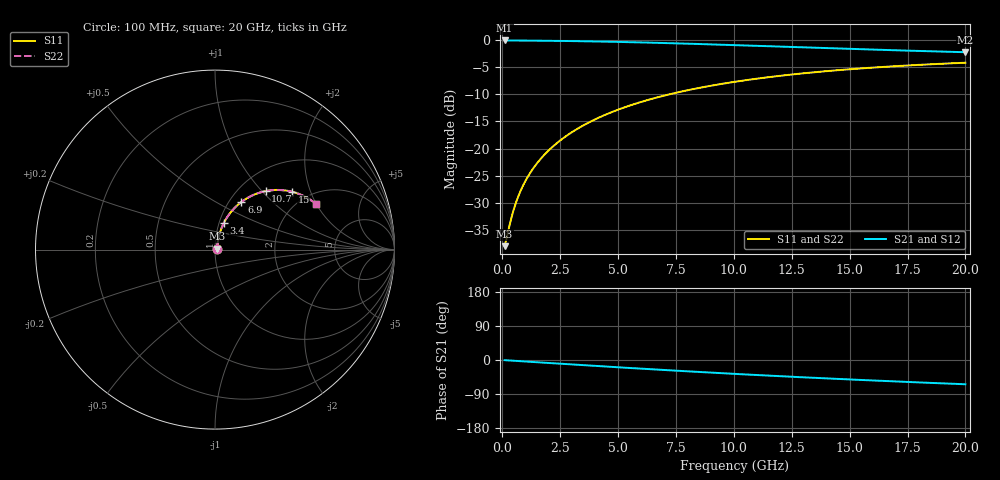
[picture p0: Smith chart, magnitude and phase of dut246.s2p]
! Touchstone file exported from HFSS 2026.1.0
!  File:  C:/ffzhzh/LocalFiles/Ansys_Project_Files/temp_train_BSMRDL_246_1782988518_41620.aedt
!  Generated:  06:36:42 PM Jul  2, 2026
!  Design:  BSMRDL
!  Project:  temp_train_BSMRDL_246_1782988518_41620
! Variables:
!  h_bsmrdl = 2.17um
!  h_ox = 20um
!  h_rdl = 5um
!  h_sub = 80um
!  h_tmrdl = 5um
!  h_tsv = 80um
!  h_via = 3um
!  l_bsmrdl = 967.05um
!  l_sub = 1367.05um
!  l_tmrdl = 200um
!  m_sub = 200um
!  pitch = 45.15um
!  r_tsv = 6um
!  s_tmrdl = 10um
!  w_bsmrdl = 13.48um
!  w_sub = 500um
!  w_tmrdl = 12um
!  x_tsv_center1 = 206um
!  x_tsv_center2 = 1186.53um
!  x_tsv_center3 = 1398.53um
!  x_tsv_center4 = 2379.06um
!  x_tsv_center5 = 2591.06um
!  x_tsv_center6 = 3571.59um
# GHz S MA R 50.000000
! Terminal data exported
! Port[1] = BSM_RDL1_1_T1
! Port[2] = BSM_RDL1_1_T2
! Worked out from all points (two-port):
!   200 points, 100 MHz to 20 GHz, reference 50 ohm
!   highest |S21| = -0.10 dB at 100 MHz (marker M1); lowest = -2.3 dB at 20 GHz (marker M2)
!   |S21| within 3 dB of the highest: start of sweep to end of sweep
!   lowest |S11| = -38.0 dB at 100 MHz (marker M3), VSWR 1.03, Z = 51.2 + j0.507 ohm
!   |S11| at or under -10 dB: start of sweep to 7.237 GHz
!   |S22| runs from -38.0 to -4.2 dB; largest |S21 - S12| = 1e-14
!   S11 on the Smith chart (normalised r, x): 100 MHz: 1.02, +0.01; 3.4 GHz: 1.05, +0.33; 6.9 GHz: 1.14, +0.67; 10.7 GHz: 1.31, +1.05; 15 GHz: 1.66, +1.50; 20 GHz: 2.40, +1.98
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0.1  0.01261 23.1  0.9884 -0.4  0.9884 -0.4  0.01261 23.1
! Gamma 0 0 0 0
! Port Impedance 50 0 50 0
0.4  0.02327 57.4  0.9878 -1.6  0.9878 -1.6  0.02327 57.4
0.6  0.03213 64.9  0.9872 -2.4  0.9872 -2.4  0.03213 64.9
0.7  0.03665 67.1  0.9868 -2.8  0.9868 -2.8  0.03665 67.1
0.9  0.04575 70.0  0.9861 -3.6  0.9861 -3.6  0.04575 70.0
1.2  0.05943 72.3  0.985 -4.8  0.985 -4.8  0.05943 72.3
1.6  0.07768 73.5  0.9834 -6.3  0.9834 -6.3  0.07768 73.5
2.1  0.1004 73.7  0.981 -8.3  0.981 -8.3  0.1004 73.7
2.7  0.1276 73.0  0.9777 -10.6  0.9777 -10.6  0.1276 73.0
3.4  0.1589 71.5  0.9729 -13.2  0.9729 -13.2  0.1589 71.5
3.5  0.1633 71.3  0.9721 -13.6  0.9721 -13.6  0.1633 71.3
4.2  0.1938 69.4  0.9664 -16.2  0.9664 -16.2  0.1938 69.4
5  0.2278 67.0  0.9588 -19.2  0.9588 -19.2  0.2278 67.0
6.8  0.2998 61.3  0.9387 -25.7  0.9387 -25.7  0.2998 61.3
6.9  0.3036 61.0  0.9374 -26.1  0.9374 -26.1  0.3036 61.0
8.4  0.3579 56.2  0.918 -31.3  0.918 -31.3  0.3579 56.2
10.1  0.4133 50.9  0.8945 -36.8  0.8945 -36.8  0.4133 50.9
10.7  0.4312 49.1  0.886 -38.7  0.886 -38.7  0.4312 49.1
13.4  0.5019 41.3  0.8481 -46.9  0.8481 -46.9  0.502 41.2
15  0.5367 36.9  0.8268 -51.3  0.8268 -51.3  0.5367 36.8
16.7  0.5684 32.5  0.8057 -55.9  0.8057 -55.9  0.5684 32.4
20  0.6163 24.5  0.7705 -64.0  0.7705 -64.0  0.6164 24.4
